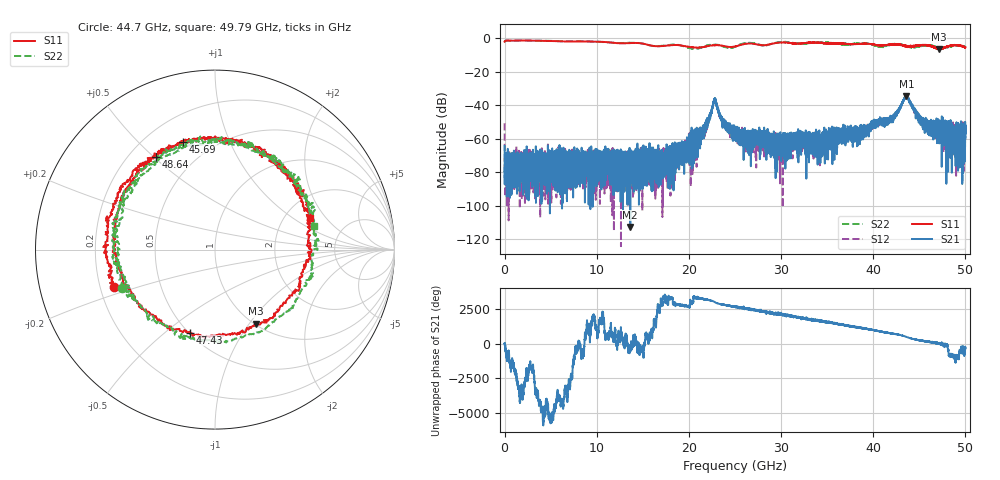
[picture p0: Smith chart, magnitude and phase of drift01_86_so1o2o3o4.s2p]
!Created with skrf (http://scikit-rf.org).
# Hz S RI R 50.0
!freq ReS11 ImS11 ReS21 ImS21 ReS12 ImS12 ReS22 ImS22
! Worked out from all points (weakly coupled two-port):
!   10001 points, 300 kHz to 50 GHz, reference 50 ohm
!   highest |S21| = -34.69 dB at 43.61 GHz (marker M1); lowest = -112.7 dB at 13.64 GHz (marker M2)
!   lowest |S11| = -6.5 dB at 47.1 GHz (marker M3), VSWR 2.78, Z = 50.7 - j53.7 ohm
!   |S11| at or under -10 dB: nowhere
!   |S22| runs from -6.4 to -1.4 dB; largest |S21 - S12| = 0.0039
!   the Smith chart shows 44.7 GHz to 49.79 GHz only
!   S11 on the Smith chart (normalised r, x): 44.7 GHz: 0.26, -0.17; 45.69 GHz: 0.35, +0.69; 47.43 GHz: 0.51, -0.61; 48.64 GHz: 0.31, +0.51; 49.79 GHz: 2.74, +1.38
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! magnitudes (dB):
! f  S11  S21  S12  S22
! 300 kHz  -2.1  -64.5  -50.8  -2.1
! 310.3 MHz  -1.4  -72.5  -77.4  -1.4
! 8.335 GHz  -1.9  -73.7  -75.0  -1.8
! 13.64 GHz  -2.9  -112.7  -66.6  -2.7
! 16.67 GHz  -4.8  -75.9  -73.5  -4.8
! 20.61 GHz  -5.5  -59.5  -59.5  -6.3
! 21.78 GHz  -5.0  -53.5  -52.3  -4.8
! 22.81 GHz  -4.3  -36.6  -36.4  -4.0
! 23.79 GHz  -4.7  -49.7  -49.9  -5.2
! 25 GHz  -5.0  -54.6  -55.4  -5.0
! 29.93 GHz  -2.6  -58.4  -67.6  -2.4
! 31.96 GHz  -3.2  -60.3  -59.4  -3.2
! 33.34 GHz  -2.6  -63.6  -68.5  -2.7
! 41.67 GHz  -3.9  -48.8  -49.5  -3.9
! 43.61 GHz  -4.8  -34.7  -35.3  -4.8
! 44.7 GHz  -4.4  -44.8  -44.9  -5.0
! 45.69 GHz  -4.1  -47.5  -50.7  -4.3
! 47.1 GHz  -6.5  -54.8  -52.1  -5.7
! 47.43 GHz  -6.3  -55.0  -50.8  -5.8
! 48.64 GHz  -4.3  -61.0  -65.1  -4.6
! 49.79 GHz  -5.1  -54.7  -54.9  -5.0
! 50 GHz  -5.5  -52.1  -56.5  -5.2
